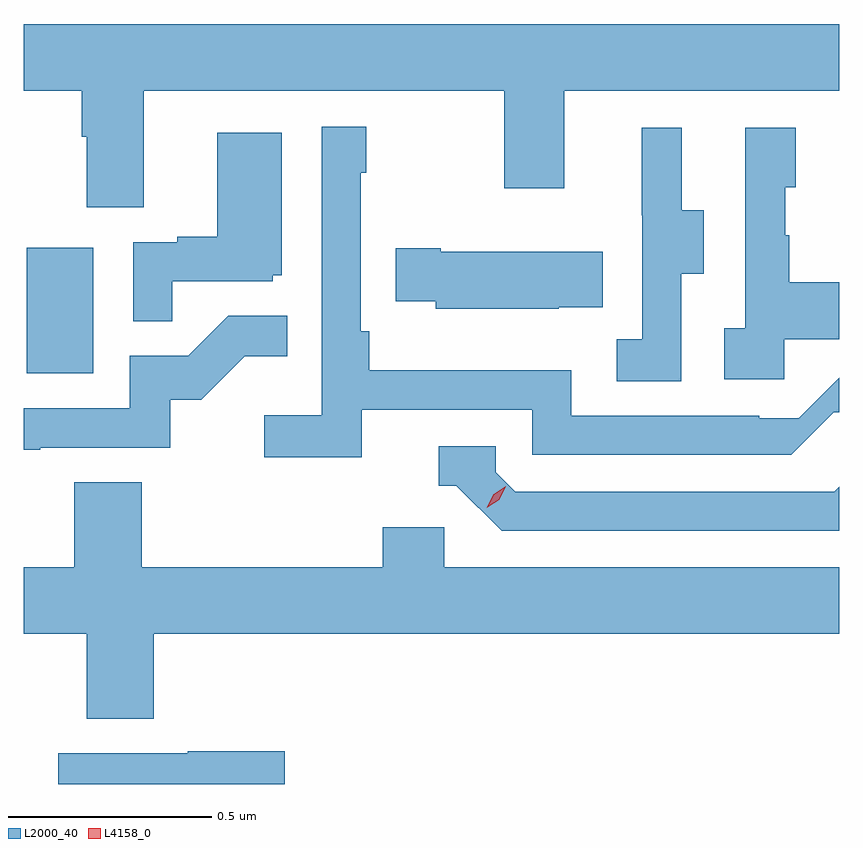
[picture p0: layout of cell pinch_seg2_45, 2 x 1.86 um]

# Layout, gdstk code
import gdstk
lib = gdstk.Library(unit=1e-6, precision=1e-09)
def R(c, l, rs):  # rectangles x0, y0, x1, y1
    for r in rs: c.add(gdstk.rectangle(r[:2], r[2:], *l))
def P(c, l, *ps):  # polygons
    for p in ps: c.add(gdstk.Polygon(p, *l))
L2000_40 = (2000, 40)
L4158_0 = (4158, 0)

pinch_seg2_45 = lib.new_cell('pinch_seg2_45')
R(pinch_seg2_45, L2000_40, [(1124.804,648.276,1124.968,648.583)])
P(pinch_seg2_45, L2000_40, [(1125.091,648.968),(1125.976,648.968),(1125.976,648.729),(1126.123,648.729),(1126.123,648.968),(1126.797,648.968),(1126.797,649.132),(1124.797,649.132),(1124.797,648.968),(1124.939,648.968),(1124.939,648.856),(1124.951,648.856),(1124.951,648.682),(1125.091,648.682)],
  [(1125.626,648.186),(1126.044,648.186),(1126.044,648.075),(1126.679,648.075),(1126.784,648.18),(1126.797,648.18),(1126.797,648.264),(1126.698,648.165),(1126.601,648.165),(1126.601,648.171),(1126.14,648.171),(1126.14,648.283),(1125.644,648.283),(1125.644,648.379),(1125.624,648.379),(1125.624,648.767),(1125.637,648.767),(1125.637,648.88),(1125.528,648.88),(1125.528,648.172),(1125.387,648.172),(1125.387,648.07),(1125.626,648.07)],
  [(1126.41,648.52),(1126.465,648.52),(1126.465,648.675),(1126.411,648.675),(1126.411,648.877),(1126.313,648.877),(1126.313,648.663),(1126.314,648.663),(1126.314,648.359),(1126.251,648.359),(1126.251,648.256),(1126.41,648.256)],
  [(1126.662,648.359),(1126.797,648.359),(1126.797,648.499),(1126.675,648.499),(1126.675,648.614),(1126.665,648.614),(1126.665,648.732),(1126.69,648.732),(1126.69,648.877),(1126.566,648.877),(1126.566,648.386),(1126.515,648.386),(1126.515,648.261),(1126.662,648.261)],
  [(1125.161,648.501),(1125.408,648.501),(1125.408,648.516),(1125.43,648.516),(1125.43,648.865),(1125.272,648.865),(1125.272,648.61),(1125.173,648.61),(1125.173,648.597),(1125.066,648.597),(1125.066,648.403),(1125.161,648.403)],
  [(1126.109,648.437),(1126.217,648.437),(1126.217,648.574),(1125.82,648.574),(1125.82,648.582),(1125.709,648.582),(1125.709,648.452),(1125.807,648.452),(1125.807,648.434),(1126.109,648.434)],
  [(1124.837,648.093),(1125.156,648.093),(1125.156,648.21),(1125.232,648.21),(1125.339,648.317),(1125.443,648.317),(1125.443,648.416),(1125.299,648.416),(1125.201,648.318),(1125.057,648.318),(1125.057,648.189),(1124.797,648.189),(1124.797,648.088),(1124.837,648.088)],
  [(1126.797,647.997),(1126.785,647.985),(1126.002,647.985),(1125.954,648.033),(1125.954,648.096),(1125.815,648.096),(1125.815,648),(1125.858,648),(1125.969,647.889),(1126.797,647.889)],
  [(1125.116,647.636),(1126.797,647.636),(1126.797,647.8),(1125.828,647.8),(1125.828,647.898),(1125.677,647.898),(1125.677,647.8),(1125.086,647.8),(1125.086,648.008),(1124.921,648.008),(1124.921,647.8),(1124.797,647.8),(1124.797,647.636),(1124.951,647.636),(1124.951,647.428),(1125.116,647.428)],
  [(1125.437,647.348),(1125.199,647.348),(1125.199,647.343),(1124.881,647.343),(1124.881,647.268),(1125.437,647.268)])
P(pinch_seg2_45, L4158_0, [(1125.932,647.946),(1125.932,647.946),(1125.948,647.978),(1125.979,647.998),(1125.979,647.998),(1125.979,647.998),(1125.963,647.965),(1125.932,647.946)])

lib.write_gds('pinch_seg2_45.gds')
